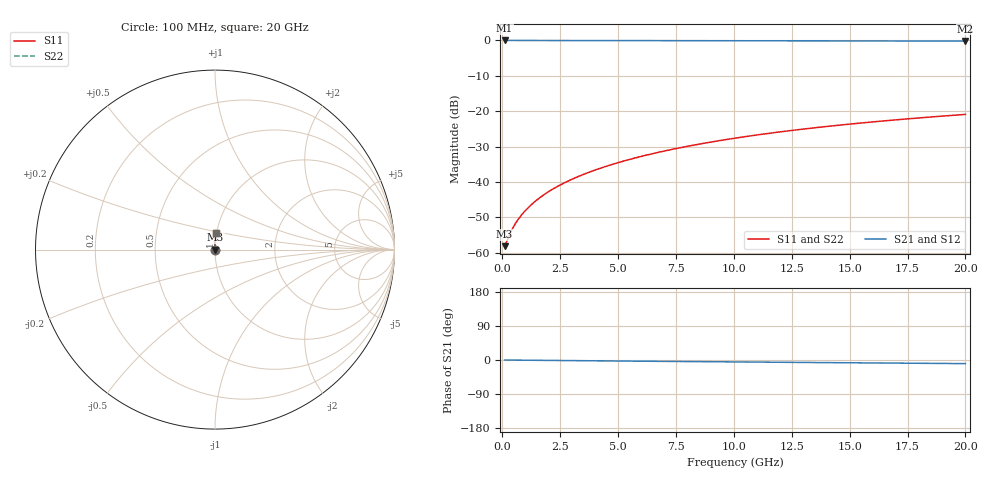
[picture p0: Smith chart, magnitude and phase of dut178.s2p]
! Touchstone file exported from HFSS 2024.1.0
!  File:  C:/UserFiles/LocalFiles/RDL_TSV_Batchsim/temp_RDL_bottom_178_1778698589.aedt
!  Generated:  02:58:34 AM May 14, 2026
!  Design:  RDL_bottom
!  Project:  temp_RDL_bottom_178_1778698589
!  Setup:  Setup1
!  Solution:  Sweep
! Variables:
!  dtsv = 10.80580581um
!  hbump = 3um
!  htsv = 99.91um
!  ldown = 125.51um
!  lrdl = 100um
!  p = 40
!  p1 = 40.46um
!  rhole = 1um
!  t = 450um
!  tdown = 2.29um
!  trdl = 3.915915916um
!  wdown = 25.84um
!  wrdl = 20um
# GHz S MA R 50.000000
! Terminal data exported
! Port[1] = RDL1_T1
! Port[2] = RDL1_T2
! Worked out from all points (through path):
!   200 points, 100 MHz to 20 GHz, reference 50 ohm
!   highest |S21| = -0.01 dB at 100 MHz (marker M1); lowest = -0.2 dB at 20 GHz (marker M2)
!   group delay of S21, straight-line fit = 1.31 ps
!   lowest |S11| = -58.1 dB at 100 MHz (marker M3), VSWR 1.00, Z = 50.1 + j0.0428 ohm
!   |S11| at or under -10 dB: start of sweep to end of sweep
!   |S22| runs from -58.1 to -20.9 dB; largest |S21 - S12| = 3.1e-15
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0.1  0.001241 20.1  0.9988 -0.1  0.9988 -0.1  0.001241 20.1
! Gamma 0 0 0 0
! Port Impedance 50 0 50 0
0.4  0.002062 51.4  0.9987 -0.2  0.9987 -0.2  0.002062 51.4
0.5  0.002377 56.1  0.9986 -0.3  0.9986 -0.3  0.002377 56.1
0.6  0.002693 59.8  0.9986 -0.3  0.9986 -0.3  0.002693 59.8
0.7  0.003008 62.7  0.9985 -0.4  0.9985 -0.4  0.003008 62.7
0.9  0.00364 67.4  0.9984 -0.5  0.9984 -0.5  0.00364 67.4
1.1  0.004282 71.0  0.9983 -0.6  0.9983 -0.6  0.004282 71.0
1.3  0.004936 73.8  0.9982 -0.7  0.9982 -0.7  0.004936 73.8
1.7  0.006277 78.1  0.998 -0.9  0.998 -0.9  0.006277 78.1
2.2  0.008012 81.7  0.9977 -1.2  0.9977 -1.2  0.008012 81.7
2.8  0.01017 84.8  0.9972 -1.5  0.9972 -1.5  0.01017 84.8
3.5  0.01279 87.3  0.9966 -1.9  0.9966 -1.9  0.01279 87.3
4.2  0.01552 89.0  0.9959 -2.3  0.9959 -2.3  0.01552 89.0
5  0.01876 90.5  0.9951 -2.7  0.9951 -2.7  0.01876 90.5
5.9  0.02256 91.5  0.994 -3.1  0.994 -3.1  0.02256 91.5
6.8  0.02651 92.1  0.9929 -3.6  0.9929 -3.6  0.02651 92.1
8.4  0.03382 92.5  0.991 -4.3  0.991 -4.3  0.03382 92.5
10.1  0.04187 92.3  0.9889 -5.1  0.9889 -5.1  0.04186 92.3
11.7  0.0496 91.6  0.987 -5.9  0.987 -5.9  0.0496 91.6
13.4  0.05791 90.8  0.9852 -6.6  0.9852 -6.6  0.05791 90.8
16.7  0.07408 88.8  0.9818 -8.1  0.9818 -8.1  0.07408 88.8
20  0.09014 86.8  0.9787 -9.5  0.9787 -9.5  0.09014 86.8
